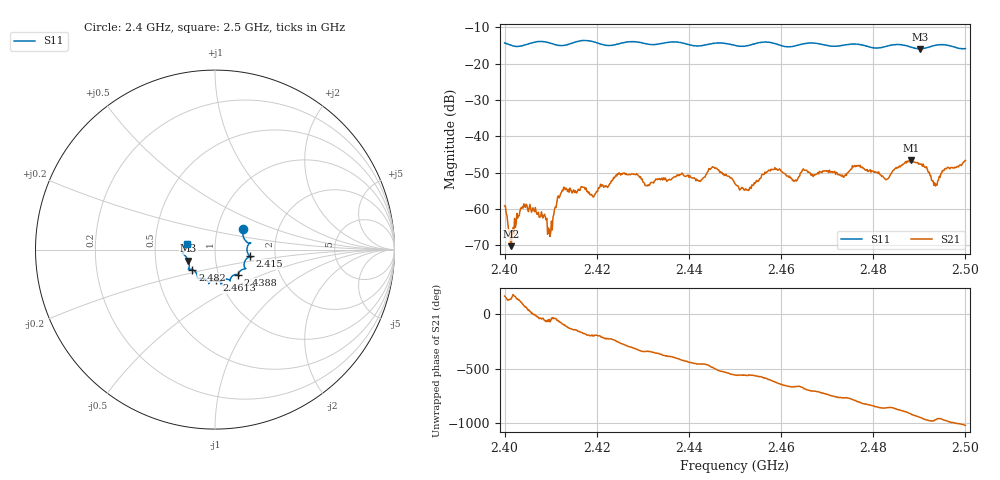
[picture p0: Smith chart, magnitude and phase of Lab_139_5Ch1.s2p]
# Hz S RI R 50
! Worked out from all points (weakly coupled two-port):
!   601 points, 2.4 GHz to 2.5 GHz, reference 50 ohm
!   highest |S21| = -46.58 dB at 2.4882 GHz (marker M1); lowest = -70.3 dB at 2.4013 GHz (marker M2)
!   lowest |S11| = -15.9 dB at 2.4902 GHz (marker M3), VSWR 1.38, Z = 36.9 - j4.66 ohm
!   |S11| at or under -10 dB: start of sweep to end of sweep
!   S12 and S22 are empty: the file has one direction only
!   S11 on the Smith chart (normalised r, x): 2.4 GHz: 1.33, +0.31; 2.415 GHz: 1.47, -0.11; 2.4388 GHz: 1.24, -0.36; 2.4613 GHz: 0.96, -0.34; 2.482 GHz: 0.76, -0.17; 2.5 GHz: 0.72, +0.05
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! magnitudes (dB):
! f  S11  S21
! 2.4 GHz  -14.3  -59.1
! 2.4013 GHz  -14.9  -70.3
! 2.4043 GHz  -14.9  -59.2
! 2.4098 GHz  -14.3  -67.6
! 2.412 GHz  -15.0  -56.5
! 2.415 GHz  -14.2  -54.8
! 2.4167 GHz  -13.6  -53.9
! 2.4192 GHz  -13.9  -56.7
! 2.425 GHz  -14.4  -50.3
! 2.4333 GHz  -14.6  -51.7
! 2.4388 GHz  -14.4  -50.7
! 2.4455 GHz  -14.4  -48.6
! 2.45 GHz  -15.0  -53.1
! 2.4613 GHz  -15.3  -50.9
! 2.4667 GHz  -14.3  -50.4
! 2.4767 GHz  -14.6  -48.0
! 2.482 GHz  -15.5  -50.9
! 2.4833 GHz  -15.1  -51.5
! 2.4882 GHz  -15.4  -46.6
! 2.4902 GHz  -15.9  -47.6
! 2.4935 GHz  -14.9  -53.7
! 2.5 GHz  -15.8  -46.6
